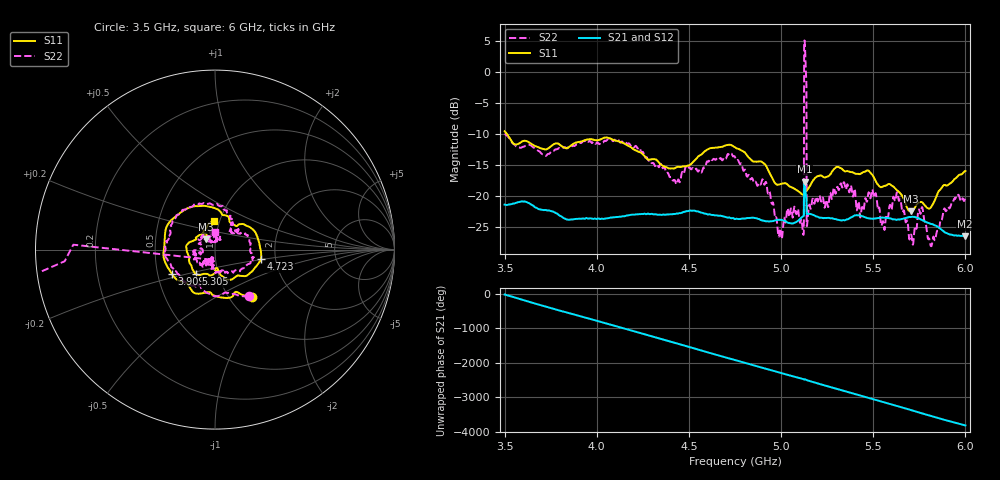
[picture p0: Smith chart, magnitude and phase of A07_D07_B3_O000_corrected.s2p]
! Created with skrf 1.9.0 (http://scikit-rf.org).
# Hz S RI R 50.0
!freq ReS11 ImS11 ReS21 ImS21 ReS12 ImS12 ReS22 ImS22
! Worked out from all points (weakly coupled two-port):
!   1601 points, 3.5 GHz to 6 GHz, reference 50 ohm
!   highest |S21| = -17.63 dB at 5.128 GHz (marker M1); lowest = -26.4 dB at 5.995 GHz (marker M2)
!   lowest |S11| = -22.4 dB at 5.706 GHz (marker M3), VSWR 1.16, Z = 45 + j5.2 ohm
!   |S11| at or under -10 dB: 3.514 GHz to end of sweep
!   |S22| runs from -28.0 to 5.1 dB; largest |S21 - S12| = 0.0011
!   S11 on the Smith chart (normalised r, x): 3.5 GHz: 1.27, -0.75; 3.909 GHz: 0.59, -0.17; 4.723 GHz: 1.67, -0.19; 5.305 GHz: 0.78, -0.22; 6 GHz: 0.94, +0.31
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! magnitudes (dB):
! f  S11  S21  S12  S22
! 3.5 GHz  -9.5  -21.3  -21.3  -9.9
! 3.909 GHz  -11.2  -23.6  -23.6  -11.4
! 3.917 GHz  -11.2  -23.6  -23.6  -11.3
! 4.334 GHz  -14.5  -22.9  -22.9  -15.3
! 4.439 GHz  -15.2  -22.8  -22.7  -17.5
! 4.723 GHz  -11.7  -23.5  -23.4  -13.3
! 4.75 GHz  -12.1  -23.7  -23.6  -13.7
! 4.911 GHz  -14.8  -24.0  -23.9  -18.1
! 4.995 GHz  -18.0  -23.8  -23.7  -25.1
! 5.111 GHz  -19.6  -23.4  -23.4  -23.8
! 5.128 GHz  -19.4  -17.6  -17.6  5.1
! 5.138 GHz  -19.1  -20.2  -20.1  -2.0
! 5.152 GHz  -18.6  -22.8  -22.8  -21.5
! 5.167 GHz  -17.7  -22.9  -22.9  -20.9
! 5.305 GHz  -15.2  -23.7  -23.7  -18.5
! 5.584 GHz  -18.0  -23.5  -23.5  -22.5
! 5.638 GHz  -19.2  -23.7  -23.7  -20.5
! 5.706 GHz  -22.4  -23.3  -23.3  -26.2
! 5.756 GHz  -20.9  -23.7  -23.7  -22.8
! 5.82 GHz  -21.4  -24.5  -24.4  -27.4
! 5.995 GHz  -16.0  -26.4  -26.4  -20.6
! 6 GHz  -15.9  -26.4  -26.4  -20.0
